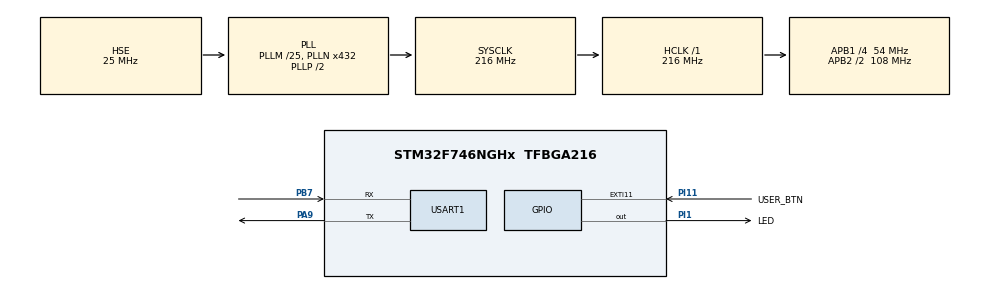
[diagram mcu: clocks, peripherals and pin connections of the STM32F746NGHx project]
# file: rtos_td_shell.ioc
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FREERTOS.Tasks01=defaultTask,0,128,StartDefaultTask,Default,NULL,Dynamic,NULL,NULL
FREERTOS.configCHECK_FOR_STACK_OVERFLOW=2
FREERTOS.configGENERATE_RUN_TIME_STATS=1
FREERTOS.configRECORD_STACK_HIGH_ADDRESS=1
FREERTOS.configTOTAL_HEAP_SIZE=25000
FREERTOS.configUSE_STATS_FORMATTING_FUNCTIONS=1
FREERTOS.configUSE_TRACE_FACILITY=1
Mcu.Family=STM32F7
Mcu.Name=STM32F746NGHx
Mcu.Package=TFBGA216
NVIC.PriorityGroup=NVIC_PRIORITYGROUP_4
NVIC.TIM6_DAC_IRQn=true\:15\:0\:false\:false\:true\:false\:false\:true\:true
NVIC.TimeBase=TIM6_DAC_IRQn
NVIC.TimeBaseIP=TIM6
NVIC.USART1_IRQn=true\:5\:0\:false\:false\:true\:true\:true\:true\:true
PA13.Mode=Serial_Wire
PA13.Signal=SYS_JTMS-SWDIO
PA14.Mode=Serial_Wire
PA14.Signal=SYS_JTCK-SWCLK
PA9.Mode=Asynchronous
PA9.Signal=USART1_TX
PB7.Mode=Asynchronous
PB7.Signal=USART1_RX
PH0/OSC_IN.Mode=HSE-External-Oscillator
PH0/OSC_IN.Signal=RCC_OSC_IN
PH1/OSC_OUT.Mode=HSE-External-Oscillator
PH1/OSC_OUT.Signal=RCC_OSC_OUT
PI1.GPIO_Label=LED
PI1.Signal=GPIO_Output
PI11.GPIO_Label=USER_BTN
PI11.Signal=GPXTI11
ProjectManager.HeapSize=0x200
ProjectManager.StackSize=0x400
ProjectManager.TargetToolchain=Makefile
RCC.AHBFreq_Value=216000000
RCC.APB1CLKDivider=RCC_HCLK_DIV4
RCC.APB1Freq_Value=54000000
RCC.APB1TimFreq_Value=108000000
RCC.APB2CLKDivider=RCC_HCLK_DIV2
RCC.APB2Freq_Value=108000000
RCC.APB2TimFreq_Value=216000000
RCC.CortexFreq_Value=216000000
RCC.HCLKFreq_Value=216000000
RCC.HSE_VALUE=25000000
RCC.HSI_VALUE=16000000
RCC.LSE_VALUE=32768
RCC.PLLM=25
RCC.PLLN=432
RCC.PLLSourceVirtual=RCC_PLLSOURCE_HSE
RCC.SYSCLKFreq_VALUE=216000000
RCC.SYSCLKSource=RCC_SYSCLKSOURCE_PLLCLK
RCC.USBFreq_Value=216000000
RCC.VCOOutputFreq_Value=432000000
TIM2.Prescaler=1080-1
USART1.VirtualMode-Asynchronous=VM_ASYNC
VP_FREERTOS_VS_CMSIS_V1.Mode=CMSIS_V1
VP_SYS_VS_tim6.Mode=TIM6
VP_TIM2_VS_ClockSourceINT.Mode=Internal
board=STM32F746G-DISCO

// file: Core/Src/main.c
/* USER CODE BEGIN Header */
/**
 ******************************************************************************
 * @file           : main.c
 * @brief          : Main program body
 ******************************************************************************
 * @attention
 *
 * Copyright (c) 2022 STMicroelectronics.
 * All rights reserved.
 *
 * This software is licensed under terms that can be found in the LICENSE file
 * in the root directory of this software component.
 * If no LICENSE file comes with this software, it is provided AS-IS.
 *
 ******************************************************************************
 */
/* USER CODE END Header */
#include "main.h"
#include "cmsis_os.h"
#include "tim.h"
#include "usart.h"
#include "gpio.h"

/* USER CODE BEGIN Includes */
#include <stdio.h>
#include <stdlib.h>
#include "FreeRTOS.h"
#include "shell.h"
#include "semphr.h"
#include "task.h"
/* USER CODE END Includes */

/* USER CODE BEGIN PD */
#define TASK_SHELL_STACK_DEPTH 512
#define TASK_SHELL_PRIORITY 1
#define STACK_SIZE 1000
#define DELAY 1000
/* USER CODE END PD */

/* USER CODE BEGIN PV */
	TaskHandle_t h_task_shell = NULL;
  TaskHandle_t h_task_led = NULL;

  TaskHandle_t h_of = NULL;
  TaskHandle_t h_stat = NULL;

  SemaphoreHandle_t xSemaphore;
/* USER CODE END PV */

void SystemClock_Config(void);
void MX_FREERTOS_Init(void);
/* USER CODE BEGIN PFP */
void blink_led(void *unsued);
void vApplicationStackOverflowHook( TaskHandle_t xTask, signed char *pcTaskName );
/* USER CODE END PFP */

/* USER CODE BEGIN 0 */
void taskoverlfow(void *pvParameters){

  int delay = (int) pvParameters;
  char buffer[STACK_SIZE];
  int i;

  while (1) {

    for (i = 0; i <= STACK_SIZE+1; i++) {
      buffer[i] = i;

      xSemaphoreTake(xSemaphore,portMAX_DELAY);
      printf("Task Overflow running %d\r\n", buffer[i]);

      printf("Je suis la tache 1 et je m'endors pour %d ticks\r\n", delay);

      vTaskDelay(delay);
  }

}
}

void taskstats(void *pvParameters){

int delay = (int) pvParameters;
static char buffer[1024];

  while(1){
    xSemaphoreGive(xSemaphore);

    vTaskGetRunTimeStats(buffer);
    printf("Runtime stats:\n%s", buffer);

    printf("Je suis la tache 2 et je m'endors pour %d ticks\r\n", delay);

    vTaskDelay(delay);

  }

}
int __io_putchar(int ch)
{
	HAL_UART_Transmit(&huart1, (uint8_t*)&ch, 1, HAL_MAX_DELAY);

	return ch;
}

void vApplicationStackOverflowHook( TaskHandle_t xTask, signed char *pcTaskName ){

  printf("ERROR: Stack overflow in task %s\n", pcTaskName);

  for(;;){

  }
}

void configureTimerForRunTimeStats(void)
{
  HAL_TIM_Base_Start(&htim2);
}

unsigned long getRunTimeCounterValue(void)
{
  return __HAL_TIM_GET_COUNTER(&htim2);
}

void HAL_UART_RxCpltCallback(UART_HandleTypeDef *huart)
{
	if (huart->Instance == USART1)
	{
		shell_uart_receive_irq_cb();	// C'est la fonction qui donne le sémaphore!
	}
}

int stat(int argc, char ** argv)
{
  static char buffer[1024];
  static char buffer_i[1024];

	if (argc == 1)
	{
		vTaskGetRunTimeStats(buffer);
    printf("Runtime stats:\n%s", buffer);

	  vTaskList(buffer_i);
    printf("Runtime stats:\n%s", buffer_i);

		return 0;
	}
	else
	{
		printf("Erreur, pas le bon nombre d'arguments\r\n");
		return -1;
	}
}

void task_shell(void * unused)
{
	shell_init();
  shell_add('s',stat, "Stats");
	shell_run();	// boucle infinie
}

/* USER CODE END 0 */

int main(void)
{

  /* MCU Configuration--------------------------------------------------------*/

  /* Reset of all peripherals, Initializes the Flash interface and the Systick. */
  HAL_Init();

  /* Configure the system clock */
  SystemClock_Config();

  /* Initialize all configured peripherals */
  MX_GPIO_Init();
  MX_USART1_UART_Init();
  MX_TIM2_Init();
  /* USER CODE BEGIN 2 */

  /* Create a taskGive*/
  // xTaskCreate(
  //         taskoverlfow,       // Function to be called
  //         "Overflow",         // Name of task
  //         STACK_SIZE,     // Stack size
  //         (void *)DELAY,  // Parameter to pass to function
  //         1,              // Task priority 0 to configMAX_PRIORITIES - 1 (FreeRTOSConfig.h)
  //         &h_of       // Task handle (allows to find and manipulate the task)
  //         );

  // xTaskCreate(
  //         taskstats,       // Function to be called
  //         "Stat",         // Name of task
  //         STACK_SIZE,     // Stack size
  //         (void *)DELAY,  // Parameter to pass to function
  //         2,              // Task priority 0 to configMAX_PRIORITIES - 1 (FreeRTOSConfig.h)
  //         &h_stat       // Task handle (allows to find and manipulate the task)
  // );

  if (xTaskCreate(task_shell, "Shell", TASK_SHELL_STACK_DEPTH, NULL, 3, &h_task_shell) != pdPASS)
	{
		printf("Error creating task shell\r\n");
		Error_Handler();
	}

  // Create a semaphore
  xSemaphore = xSemaphoreCreateBinary();

  /* USER CODE END 2 */

  /* Call init function for freertos objects (in freertos.c) */
  MX_FREERTOS_Init();

  /* Start scheduler */
  osKernelStart();
  /* We should never get here as control is now taken by the scheduler */
  /* Infinite loop */
	while (1)
	{

	}
}

void SystemClock_Config(void)
{
  RCC_OscInitTypeDef RCC_OscInitStruct = {0};
  RCC_ClkInitTypeDef RCC_ClkInitStruct = {0};

  /** Configure the main internal regulator output voltage
  */
  __HAL_RCC_PWR_CLK_ENABLE();
  __HAL_PWR_VOLTAGESCALING_CONFIG(PWR_REGULATOR_VOLTAGE_SCALE1);

  /** Initializes the RCC Oscillators according to the specified parameters
  * in the RCC_OscInitTypeDef structure.
  */
  RCC_OscInitStruct.OscillatorType = RCC_OSCILLATORTYPE_HSE;
  RCC_OscInitStruct.HSEState = RCC_HSE_ON;
  RCC_OscInitStruct.PLL.PLLState = RCC_PLL_ON;
  RCC_OscInitStruct.PLL.PLLSource = RCC_PLLSOURCE_HSE;
  RCC_OscInitStruct.PLL.PLLM = 25;
  RCC_OscInitStruct.PLL.PLLN = 432;
  RCC_OscInitStruct.PLL.PLLP = RCC_PLLP_DIV2;
  RCC_OscInitStruct.PLL.PLLQ = 2;
  if (HAL_RCC_OscConfig(&RCC_OscInitStruct) != HAL_OK)
  {
    Error_Handler();
  }

  /** Activate the Over-Drive mode
  */
  if (HAL_PWREx_EnableOverDrive() != HAL_OK)
  {
    Error_Handler();
  }

  /** Initializes the CPU, AHB and APB buses clocks
  */
  RCC_ClkInitStruct.ClockType = RCC_CLOCKTYPE_HCLK|RCC_CLOCKTYPE_SYSCLK
                              |RCC_CLOCKTYPE_PCLK1|RCC_CLOCKTYPE_PCLK2;
  RCC_ClkInitStruct.SYSCLKSource = RCC_SYSCLKSOURCE_PLLCLK;
  RCC_ClkInitStruct.AHBCLKDivider = RCC_SYSCLK_DIV1;
  RCC_ClkInitStruct.APB1CLKDivider = RCC_HCLK_DIV4;
  RCC_ClkInitStruct.APB2CLKDivider = RCC_HCLK_DIV2;

  if (HAL_RCC_ClockConfig(&RCC_ClkInitStruct, FLASH_LATENCY_7) != HAL_OK)
  {
    Error_Handler();
  }
}

void HAL_TIM_PeriodElapsedCallback(TIM_HandleTypeDef *htim)
{
  if (htim->Instance == TIM6) {
    HAL_IncTick();
  }
}

void Error_Handler(void)
{
	__disable_irq();
	while (1)
	{
	}
}

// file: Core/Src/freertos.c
/* USER CODE BEGIN Header */
/**
  ******************************************************************************
  * File Name          : freertos.c
  * Description        : Code for freertos applications
  ******************************************************************************
  * @attention
  *
  * Copyright (c) 2022 STMicroelectronics.
  * All rights reserved.
  *
  * This software is licensed under terms that can be found in the LICENSE file
  * in the root directory of this software component.
  * If no LICENSE file comes with this software, it is provided AS-IS.
  *
  ******************************************************************************
  */
/* USER CODE END Header */

#include "FreeRTOS.h"
#include "task.h"
#include "main.h"
#include "cmsis_os.h"

osThreadId defaultTaskHandle;

void StartDefaultTask(void const * argument);

void MX_FREERTOS_Init(void); /* (MISRA C 2004 rule 8.1) */

/* GetIdleTaskMemory prototype (linked to static allocation support) */
void vApplicationGetIdleTaskMemory( StaticTask_t **ppxIdleTaskTCBBuffer, StackType_t **ppxIdleTaskStackBuffer, uint32_t *pulIdleTaskStackSize );

/* Hook prototypes */
void configureTimerForRunTimeStats(void);
unsigned long getRunTimeCounterValue(void);

/* USER CODE BEGIN 1 */
/* Functions needed when configGENERATE_RUN_TIME_STATS is on */
__weak void configureTimerForRunTimeStats(void)
{

}

__weak unsigned long getRunTimeCounterValue(void)
{
return 0;
}
/* USER CODE END 1 */

/* USER CODE BEGIN GET_IDLE_TASK_MEMORY */
static StaticTask_t xIdleTaskTCBBuffer;
static StackType_t xIdleStack[configMINIMAL_STACK_SIZE];

void vApplicationGetIdleTaskMemory( StaticTask_t **ppxIdleTaskTCBBuffer, StackType_t **ppxIdleTaskStackBuffer, uint32_t *pulIdleTaskStackSize )
{
  *ppxIdleTaskTCBBuffer = &xIdleTaskTCBBuffer;
  *ppxIdleTaskStackBuffer = &xIdleStack[0];
  *pulIdleTaskStackSize = configMINIMAL_STACK_SIZE;
  /* place for user code */
}
/* USER CODE END GET_IDLE_TASK_MEMORY */

void MX_FREERTOS_Init(void) {

  /* Create the thread(s) */
  /* definition and creation of defaultTask */
  osThreadDef(defaultTask, StartDefaultTask, osPriorityNormal, 0, 128);
  defaultTaskHandle = osThreadCreate(osThread(defaultTask), NULL);

}

void StartDefaultTask(void const * argument)
{
  for(;;)
  {
    osDelay(1);
  }
}
